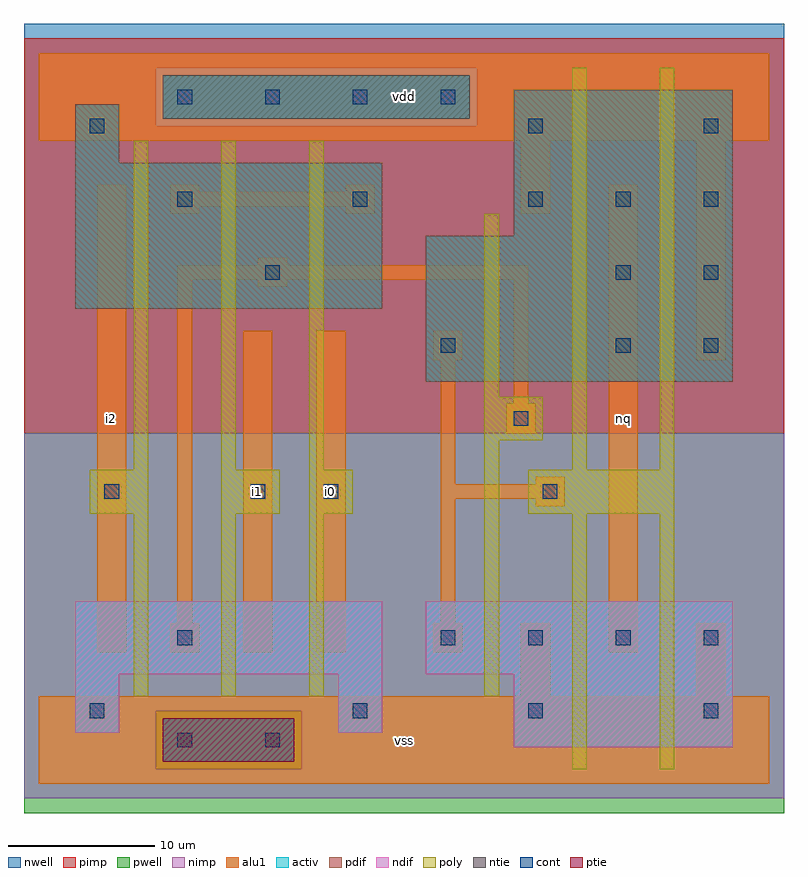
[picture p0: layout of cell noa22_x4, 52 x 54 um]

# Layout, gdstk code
import gdstk
lib = gdstk.Library(unit=1e-6, precision=1e-09)
def R(c, l, rs):  # rectangles x0, y0, x1, y1
    for r in rs: c.add(gdstk.rectangle(r[:2], r[2:], *l))
def A(c, l, x, y, w, h, nx, ny, dx, dy):  # array of equal rectangles
    R(c, l, [(x+i*dx, y+j*dy, x+i*dx+w, y+j*dy+h) for i in range(nx) for j in range(ny)])
ndif = (3, 0)
pdif = (4, 0)
ntie = (5, 0)
ptie = (6, 0)
cont = (25, 0)
pwell = (41, 0)
nwell = (42, 0)
activ = (43, 0)
pimp = (44, 0)
nimp = (45, 0)
poly = (46, 0)
alu1 = (49, 0)

noa22_x4 = lib.new_cell('noa22_x4')
R(noa22_x4, ndif, [(32.5,2.5,47.5,7.5), (2.5,3.5,5.5,7.5), (20.5,3.5,23.5,7.5), (2.5,7.5,23.5,12.5), (26.5,7.5,47.5,12.5)])
R(noa22_x4, pdif, [(26.5,27.5,47.5,37.5), (2.5,32.5,23.5,42.5), (32.5,37.5,47.5,47.5), (2.5,42.5,5.5,46.5)])
R(noa22_x4, ntie, [(8.5,45.5,29.5,48.5)])
R(noa22_x4, ptie, [(8.5,1.5,17.5,4.5)])
A(noa22_x4, cont, 21.5, 4.5, 1, 1, 3, 1, 12, 0)
A(noa22_x4, cont, 27.5, 9.5, 1, 1, 4, 1, 6, 0)
A(noa22_x4, cont, 39.5, 29.5, 1, 1, 1, 3, 0, 5)
A(noa22_x4, cont, 45.5, 29.5, 1, 1, 1, 4, 0, 5)
A(noa22_x4, cont, 9.5, 39.5, 1, 1, 3, 1, 12, 0)
A(noa22_x4, cont, 9.5, 46.5, 1, 1, 4, 1, 6, 0)
R(noa22_x4, cont, [(9.5,2.5,10.5,3.5), (15.5,2.5,16.5,3.5), (3.5,4.5,4.5,5.5), (9.5,9.5,10.5,10.5), (4.5,19.5,5.5,20.5), (14.5,19.5,15.5,20.5), (19.5,19.5,20.5,20.5), (34.5,19.5,35.5,20.5), (32.5,24.5,33.5,25.5), (27.5,29.5,28.5,30.5), (15.5,34.5,16.5,35.5), (3.5,44.5,4.5,45.5), (33.5,44.5,34.5,45.5)])
R(noa22_x4, pwell, [(-1,-2,51,24)])
R(noa22_x4, nwell, [(-1,24,51,52)])
R(noa22_x4, activ, [(8.5,1.5,17.5,4.5), (32.5,2.5,47.5,7.5), (2.5,3.5,5.5,7.5), (20.5,3.5,23.5,7.5), (2.5,7.5,23.5,12.5), (26.5,7.5,47.5,12.5), (26.5,27.5,47.5,37.5), (2.5,32.5,23.5,42.5), (32.5,37.5,47.5,47.5), (2.5,42.5,5.5,46.5), (8.5,45.5,29.5,48.5)])
R(noa22_x4, pimp, [(8,1,18,5), (-1,24,51,45), (-1,45,8,49), (30,45,51,49), (-1,49,51,51)])
R(noa22_x4, nimp, [(-1,-1,51,1), (-1,1,8,5), (18,1,51,5), (-1,5,51,24), (8,45,30,49)])
A(noa22_x4, poly, 6.5, 6, 1, 12.5, 3, 1, 6, 0)
A(noa22_x4, poly, 6.5, 21.5, 1, 22.5, 3, 1, 6, 0)
R(noa22_x4, poly, [(36.5,1,37.5,18.5), (42.5,1,43.5,18.5), (30.5,6,31.5,23.5), (3.5,18.5,7.5,21.5), (12.5,18.5,16.5,21.5), (18.5,18.5,21.5,21.5), (33.5,18.5,43.5,21.5), (36.5,21.5,37.5,49), (42.5,21.5,43.5,49), (30.5,23.5,34.5,26.5), (30.5,26.5,31.5,39)])
R(noa22_x4, alu1, [(0,0,50,6), (33,6,35,11), (45,6,47,11), (4,9,6,41), (9,9,11,11), (14,9,16,31), (19,9,21,31), (27,9,29,11), (39,9,41,41), (9.5,11,10.5,34.5), (27.5,11,28.5,19.5), (34,19,36,19.5), (27.5,19.5,36,20.5), (27.5,20.5,28.5,29), (34,20.5,36,21), (32,24,34,26), (32.5,26,33.5,34.5), (27,29,29,31), (45,29,47,44), (15,34,17,34.5), (9.5,34.5,33.5,35.5), (15,35.5,17,36), (9,39,11,39.5), (21,39,23,39.5), (33,39,35,44), (9,39.5,23,40.5), (9,40.5,11,41), (21,40.5,23,41), (0,44,50,50)])
noa22_x4.add(gdstk.Label('i2', (5,25), layer=49, texttype=0))
noa22_x4.add(gdstk.Label('i0', (20,20), layer=49, texttype=0))
noa22_x4.add(gdstk.Label('i1', (15,20), layer=49, texttype=0))
noa22_x4.add(gdstk.Label('vss', (25,3), layer=49, texttype=0))
noa22_x4.add(gdstk.Label('vdd', (25,47), layer=49, texttype=0))
noa22_x4.add(gdstk.Label('nq', (40,25), layer=49, texttype=0))

lib.write_gds('noa22_x4.gds')
